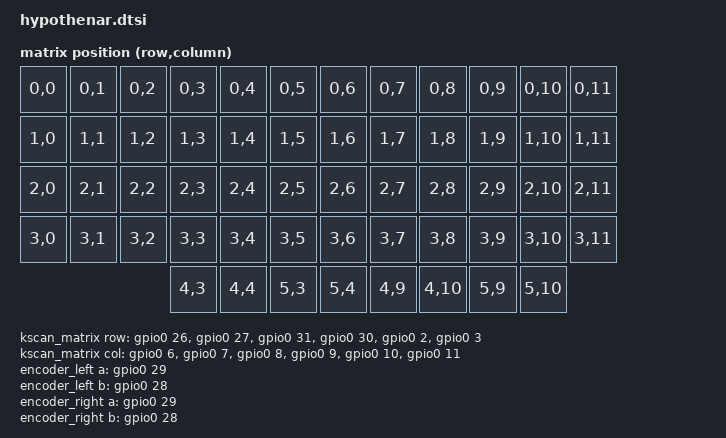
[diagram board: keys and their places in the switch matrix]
// SPDX-License-Identifier: MIT
//
// Common DT fragment for both halves of Hypothenar.
//
// Switch topology (2026-07): DIODE MATRIX, 6 rows x 6 cols per half,
// scanned directly by the MS88SF3 (converted from the 2x MCP23017 I2C
// expanders). diode-direction = col2row, so ZMK makes row-gpios the
// INPUTS (sensed) and col-gpios the OUTPUTS (driven) - the opposite of
// the names. Each switch: col driver -> switch -> colrow -> diode ->
// row sense. Pins (nRF52840, datasheet-verified against MS88SF3 rev-K):
//
//   rows (sense):  __num__=P0.26 __top__=P0.27 __home__=P0.31
//                  __bottom__=P0.30 __mod__=P0.02 __thumb__=P0.03
//   cols (drive):  col0=P0.06 col1=P0.07 col2=P0.08 col3=P0.09
//                  col4=P0.10 col5=P0.11
//
// The right half re-uses this kscan with col-offset = 6 (set in its
// overlay) so its matrix cells land in transform columns 6..11.
//
// BRING-UP NOTE: the right half is a mirrored PCB. If its columns read
// in reverse order, reverse col-gpios in hypothenar_right.overlay (same
// class of fix the thenar needed). Verify on hardware.

#include <dt-bindings/zmk/matrix_transform.h>
#include "hypothenar-layouts.dtsi"

/ {
    chosen {
        zmk,physical-layout = &physical_layout0;
        zmk,kscan = &kscan_matrix;
    };

    // 6 rows x 12 cols. Left half = cols 0..5, right half = cols 6..11
    // (via col-offset 6 on the right overlay). Map is laid out in keymap-
    // position order (0..55), matching the previous linear numbering:
    //   num 0-11, top 12-23, home 24-35, bottom 36-47, then the mod row
    //   (middle+index only) and thumb row interleaved as 48-55.
    default_transform: keymap_transform_0 {
        compatible = "zmk,matrix-transform";
        rows = <6>;
        columns = <12>;
        map = <
RC(0,0) RC(0,1) RC(0,2) RC(0,3) RC(0,4) RC(0,5)     RC(0,6) RC(0,7) RC(0,8) RC(0,9) RC(0,10) RC(0,11)
RC(1,0) RC(1,1) RC(1,2) RC(1,3) RC(1,4) RC(1,5)     RC(1,6) RC(1,7) RC(1,8) RC(1,9) RC(1,10) RC(1,11)
RC(2,0) RC(2,1) RC(2,2) RC(2,3) RC(2,4) RC(2,5)     RC(2,6) RC(2,7) RC(2,8) RC(2,9) RC(2,10) RC(2,11)
RC(3,0) RC(3,1) RC(3,2) RC(3,3) RC(3,4) RC(3,5)     RC(3,6) RC(3,7) RC(3,8) RC(3,9) RC(3,10) RC(3,11)
                        RC(4,3) RC(4,4) RC(5,3) RC(5,4)     RC(4,9) RC(4,10) RC(5,9) RC(5,10)
        >;
    };

    // Diode matrix. row-gpios = sense (inputs under col2row), col-gpios =
    // drive (outputs). Same node used by both halves; the right overlay
    // adds col-offset = 6.
    kscan_matrix: kscan_matrix {
        compatible = "zmk,kscan-gpio-matrix";
        wakeup-source;
        diode-direction = "col2row";
        debounce-press-ms = <5>;
        debounce-release-ms = <5>;
        row-gpios
            = <&gpio0 26 (GPIO_ACTIVE_HIGH | GPIO_PULL_DOWN)>   // __num__
            , <&gpio0 27 (GPIO_ACTIVE_HIGH | GPIO_PULL_DOWN)>   // __top__
            , <&gpio0 31 (GPIO_ACTIVE_HIGH | GPIO_PULL_DOWN)>   // __home__
            , <&gpio0 30 (GPIO_ACTIVE_HIGH | GPIO_PULL_DOWN)>   // __bottom__
            , <&gpio0 2  (GPIO_ACTIVE_HIGH | GPIO_PULL_DOWN)>   // __mod__
            , <&gpio0 3  (GPIO_ACTIVE_HIGH | GPIO_PULL_DOWN)>   // __thumb__
            ;
        col-gpios
            = <&gpio0 6  GPIO_ACTIVE_HIGH>   // col0
            , <&gpio0 7  GPIO_ACTIVE_HIGH>   // col1
            , <&gpio0 8  GPIO_ACTIVE_HIGH>   // col2
            , <&gpio0 9  GPIO_ACTIVE_HIGH>   // col3
            , <&gpio0 10 GPIO_ACTIVE_HIGH>   // col4
            , <&gpio0 11 GPIO_ACTIVE_HIGH>   // col5
            ;
    };

    // EVQWGD001 scrollwheel-mounted encoder. Quadrature on MCU GPIOs
    // (fixed 2026-07: was wrongly on &mcp_b 4/5). A=P0.29, B=P0.28.
    // NOTE: the encoder push button (ENC_SW -> P0.13) is wired in HW but
    // not yet scanned (it wasn't in the old kscan either). TODO: add it
    // via a kscan-composite + a transform position when wanted.
    encoder_left: encoder_left {
        compatible = "alps,ec11";
        a-gpios = <&gpio0 29 (GPIO_ACTIVE_HIGH | GPIO_PULL_UP)>;
        b-gpios = <&gpio0 28 (GPIO_ACTIVE_HIGH | GPIO_PULL_UP)>;
        steps = <30>;
        status = "disabled";
    };

    encoder_right: encoder_right {
        compatible = "alps,ec11";
        a-gpios = <&gpio0 29 (GPIO_ACTIVE_HIGH | GPIO_PULL_UP)>;
        b-gpios = <&gpio0 28 (GPIO_ACTIVE_HIGH | GPIO_PULL_UP)>;
        steps = <30>;
        status = "disabled";
    };

    sensors: sensors {
        compatible = "zmk,keymap-sensors";
        sensors = <&encoder_left &encoder_right>;
        triggers-per-rotation = <15>;
    };
};
